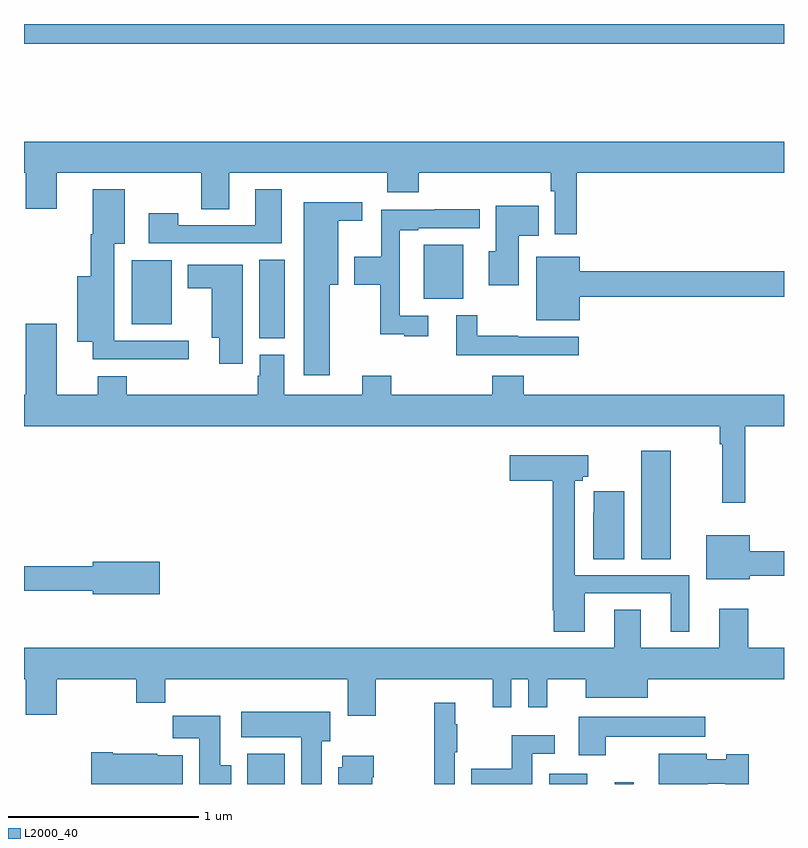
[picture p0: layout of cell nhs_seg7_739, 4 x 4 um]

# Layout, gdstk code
import gdstk
lib = gdstk.Library(unit=1e-6, precision=1e-09)
def R(c, l, rs):  # rectangles x0, y0, x1, y1
    for r in rs: c.add(gdstk.rectangle(r[:2], r[2:], *l))
def P(c, l, *ps):  # polygons
    for p in ps: c.add(gdstk.Polygon(p, *l))
L2000_40 = (2000, 40)

nhs_seg7_739 = lib.new_cell('nhs_seg7_739')
R(nhs_seg7_739, L2000_40, [(166.175,1064,166.372,1064.158), (167.765,1064,167.965,1064.053), (168.11,1064,168.208,1064.008), (168.248,1065.184,168.403,1065.754), (166.238,1066.345,166.372,1066.76), (165.566,1066.421,165.778,1066.756), (167.105,1066.553,167.311,1066.837), (165,1067.896,169,1068)])
P(nhs_seg7_739, L2000_40, [(167.909,1067.216),(169,1067.216),(169,1067.38),(165,1067.38),(165,1067.216),(165.008,1067.216),(165.008,1067.028),(165.172,1067.028),(165.172,1067.216),(165.934,1067.216),(165.934,1067.026),(166.081,1067.026),(166.081,1067.216),(166.913,1067.216),(166.913,1067.114),(167.078,1067.114),(167.078,1067.216),(167.773,1067.216),(167.773,1067.12),(167.793,1067.12),(167.793,1066.893),(167.909,1066.893)],
  [(165.868,1066.332),(165.475,1066.332),(165.475,1066.844),(165.529,1066.844),(165.529,1067.131),(165.362,1067.131),(165.362,1066.893),(165.35,1066.893),(165.35,1066.672),(165.281,1066.672),(165.281,1066.328),(165.362,1066.328),(165.362,1066.235),(165.868,1066.235)],
  [(166.357,1067.131),(166.217,1067.131),(166.217,1066.941),(165.813,1066.941),(165.813,1067.005),(165.657,1067.005),(165.657,1066.845),(166.357,1066.845)],
  [(166.609,1066.628),(166.654,1066.628),(166.654,1066.964),(166.78,1066.964),(166.78,1067.062),(166.472,1067.062),(166.472,1066.152),(166.609,1066.152)],
  [(167.605,1066.886),(167.708,1066.886),(167.708,1067.044),(167.483,1067.044),(167.483,1066.803),(167.447,1066.803),(167.447,1066.625),(167.605,1066.625)],
  [(167.128,1066.464),(166.977,1066.464),(166.977,1066.914),(167.074,1066.914),(167.074,1066.926),(167.398,1066.926),(167.398,1067.024),(167.161,1067.024),(167.161,1067.022),(166.879,1067.022),(166.879,1066.774),(166.739,1066.774),(166.739,1066.627),(166.876,1066.627),(166.876,1066.367),(167,1066.367),(167,1066.356),(167.128,1066.356)],
  [(167.926,1066.564),(169,1066.564),(169,1066.7),(167.926,1066.7),(167.926,1066.774),(167.696,1066.774),(167.696,1066.442),(167.926,1066.442)],
  [(166.15,1066.732),(165.863,1066.732),(165.863,1066.61),(165.989,1066.61),(165.989,1066.349),(166.028,1066.349),(166.028,1066.212),(166.15,1066.212)],
  [(167.92,1066.353),(167.6,1066.353),(167.6,1066.358),(167.386,1066.358),(167.386,1066.468),(167.276,1066.468),(167.276,1066.257),(167.92,1066.257)],
  [(168.797,1065.884),(169,1065.884),(169,1066.048),(167.63,1066.048),(167.63,1066.15),(167.465,1066.15),(167.465,1066.048),(166.934,1066.048),(166.934,1066.15),(166.781,1066.15),(166.781,1066.048),(166.369,1066.048),(166.369,1066.26),(166.241,1066.26),(166.241,1066.149),(166.229,1066.149),(166.229,1066.048),(165.542,1066.048),(165.542,1066.147),(165.389,1066.147),(165.389,1066.048),(165.172,1066.048),(165.172,1066.423),(165.008,1066.423),(165.008,1066.048),(165,1066.048),(165,1065.884),(168.661,1065.884),(168.661,1065.788),(168.676,1065.788),(168.676,1065.48),(168.797,1065.48)],
  [(167.95,1065.003),(168.404,1065.003),(168.404,1064.802),(168.502,1064.802),(168.502,1065.099),(167.898,1065.099),(167.898,1065.596),(167.94,1065.596),(167.94,1065.616),(167.969,1065.616),(167.969,1065.73),(167.556,1065.73),(167.556,1065.596),(167.782,1065.596),(167.782,1064.914),(167.789,1064.914),(167.789,1064.802),(167.95,1064.802)],
  [(168.16,1065.541),(167.999,1065.541),(167.999,1065.428),(167.996,1065.428),(167.996,1065.184),(168.16,1065.184)],
  [(168.82,1065.096),(169,1065.096),(169,1065.224),(168.82,1065.224),(168.82,1065.31),(168.59,1065.31),(168.59,1065.077),(168.82,1065.077)],
  [(165.715,1065.17),(165.362,1065.17),(165.362,1065.146),(165,1065.146),(165,1065.018),(165.362,1065.018),(165.362,1064.999),(165.715,1064.999)],
  [(165,1064.552),(165.008,1064.552),(165.008,1064.364),(165.172,1064.364),(165.172,1064.552),(165.592,1064.552),(165.592,1064.428),(165.743,1064.428),(165.743,1064.552),(166.703,1064.552),(166.703,1064.358),(166.851,1064.358),(166.851,1064.552),(167.468,1064.552),(167.468,1064.403),(167.565,1064.403),(167.565,1064.552),(167.655,1064.552),(167.655,1064.403),(167.753,1064.403),(167.753,1064.552),(167.957,1064.552),(167.957,1064.453),(168.283,1064.453),(168.283,1064.552),(169,1064.552),(169,1064.716),(168.812,1064.716),(168.812,1064.923),(168.659,1064.923),(168.659,1064.716),(168.247,1064.716),(168.247,1064.918),(168.107,1064.918),(168.107,1064.716),(165,1064.716)],
  [(167.268,1064.167),(167.281,1064.167),(167.281,1064.315),(167.27,1064.315),(167.27,1064.428),(167.16,1064.428),(167.16,1064),(167.268,1064)],
  [(166.567,1064.226),(166.612,1064.226),(166.612,1064.38),(166.143,1064.38),(166.143,1064.246),(166.46,1064.246),(166.46,1064),(166.567,1064)],
  [(166.09,1064.1),(166.033,1064.1),(166.033,1064.359),(165.784,1064.359),(165.784,1064.24),(165.923,1064.24),(165.923,1064),(166.09,1064)],
  [(168.061,1064.249),(168.586,1064.249),(168.586,1064.353),(167.921,1064.353),(167.921,1064.151),(168.061,1064.151)],
  [(167.676,1064.16),(167.794,1064.16),(167.794,1064.257),(167.568,1064.257),(167.568,1064.079),(167.353,1064.079),(167.353,1064),(167.676,1064)],
  [(165.835,1064.152),(165.702,1064.152),(165.702,1064.158),(165.466,1064.158),(165.466,1064.166),(165.354,1064.166),(165.354,1064),(165.835,1064)],
  [(168.598,1064.002),(168.692,1064.002),(168.692,1064),(168.814,1064),(168.814,1064.157),(168.696,1064.157),(168.696,1064.131),(168.594,1064.131),(168.594,1064.158),(168.341,1064.158),(168.341,1064),(168.598,1064)],
  [(166.834,1064.036),(166.842,1064.036),(166.842,1064.149),(166.676,1064.149),(166.676,1064.088),(166.655,1064.088),(166.655,1064),(166.834,1064)])

lib.write_gds('nhs_seg7_739.gds')
